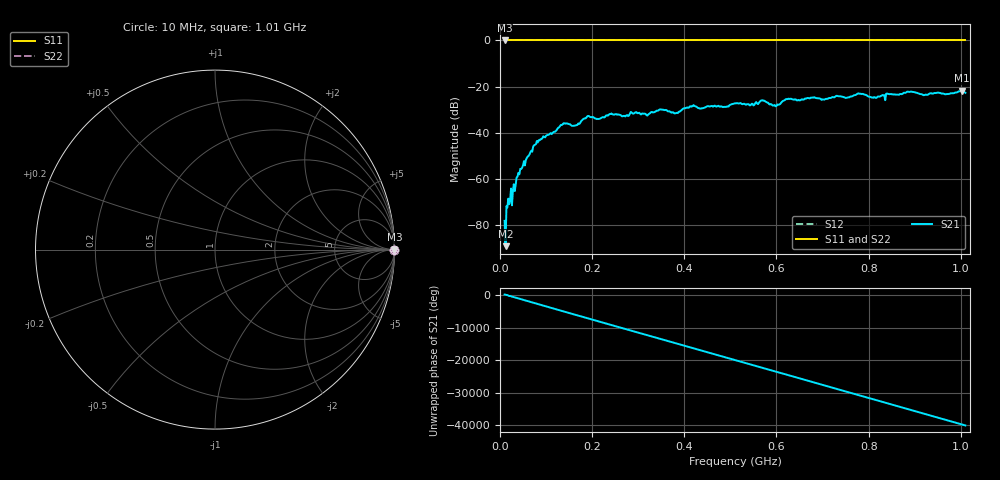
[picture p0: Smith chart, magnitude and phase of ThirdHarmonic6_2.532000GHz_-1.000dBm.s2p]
! 8/17/2025 5:03:32 AM
! C:\ANRITSUVNA\TEMP\TEMP.S2P
! CHANNEL.1
! TR.MEASUREMENT
! RAW.DATA
! RF.CORRECTION.OFF
! AVERAGING.OFF
! IF.BANDWIDTH: 5KHZ
! SWEEPTYPE:  FREQ.SWEEP(Linear)
! Reference Plane Port Info
! PORT:  PORT1  PORT2
! DISTANCE:  0  m  0  m
! TIME:  0  s  0  s
! PHASE.OFFSET:  0  deg.  0  deg.
! LOSS:  0  dB  0  dB
! REF.LOSS:  0  dB  0  dB
! REF.FREQ:  0  Hz  0  Hz
! Power Info
! POWER:  -20  dBm  -20  dBm
! EFF.POWER:  -20  dBm  -20  dBm
! SOURCE.ATTEN:  0  dB  0  dB
! TEST.ATTEN:  0  dB  0  dB
# GHZ S RI R 50.0
! FREQ.GHZ  S11RE  S11IM  S21RE  S21IM  S12RE  S12IM  S22RE  S22IM
!; PortSelection: Port_12
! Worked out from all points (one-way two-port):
!   501 points, 10 MHz to 1.01 GHz, reference 50 ohm
!   highest |S21| = -21.77 dB at 1.002 GHz (marker M1); lowest = -89.0 dB at 12 MHz (marker M2)
!   lowest |S11| = 0.0 dB at 10 MHz (marker M3)
!   |S11| at or under -10 dB: nowhere
!   |S22| runs from 0.0 to 0.0 dB; largest |S21 - S12| = 1.1
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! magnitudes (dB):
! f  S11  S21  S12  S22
! 10 MHz  0.0  -78.0  0.0  0.0
! 12 MHz  0.0  -89.0  0.0  0.0
! 20 MHz  0.0  -70.8  0.0  0.0
! 30 MHz  0.0  -62.2  0.0  0.0
! 40 MHz  0.0  -57.3  0.0  0.0
! 76 MHz  0.0  -45.1  0.0  0.0
! 136 MHz  0.0  -36.3  0.0  0.0
! 162 MHz  0.0  -36.9  0.0  0.0
! 178 MHz  0.0  -34.6  0.0  0.0
! 192 MHz  0.0  -32.6  0.0  0.0
! 320 MHz  0.0  -32.5  0.0  0.0
! 344 MHz  0.0  -30.2  0.0  0.0
! 382 MHz  0.0  -31.4  0.0  0.0
! 416 MHz  0.0  -28.6  0.0  0.0
! 510 MHz  0.0  -27.2  0.0  0.0
! 570 MHz  0.0  -25.9  0.0  0.0
! 596 MHz  0.0  -27.9  0.0  0.0
! 624 MHz  0.0  -25.4  0.0  0.0
! 678 MHz  0.0  -24.6  0.0  0.0
! 844 MHz  0.0  -23.2  0.0  0.0
! 1.002 GHz  0.0  -21.8  0.0  0.0
! 1.01 GHz  0.0  -22.6  0.0  0.0
